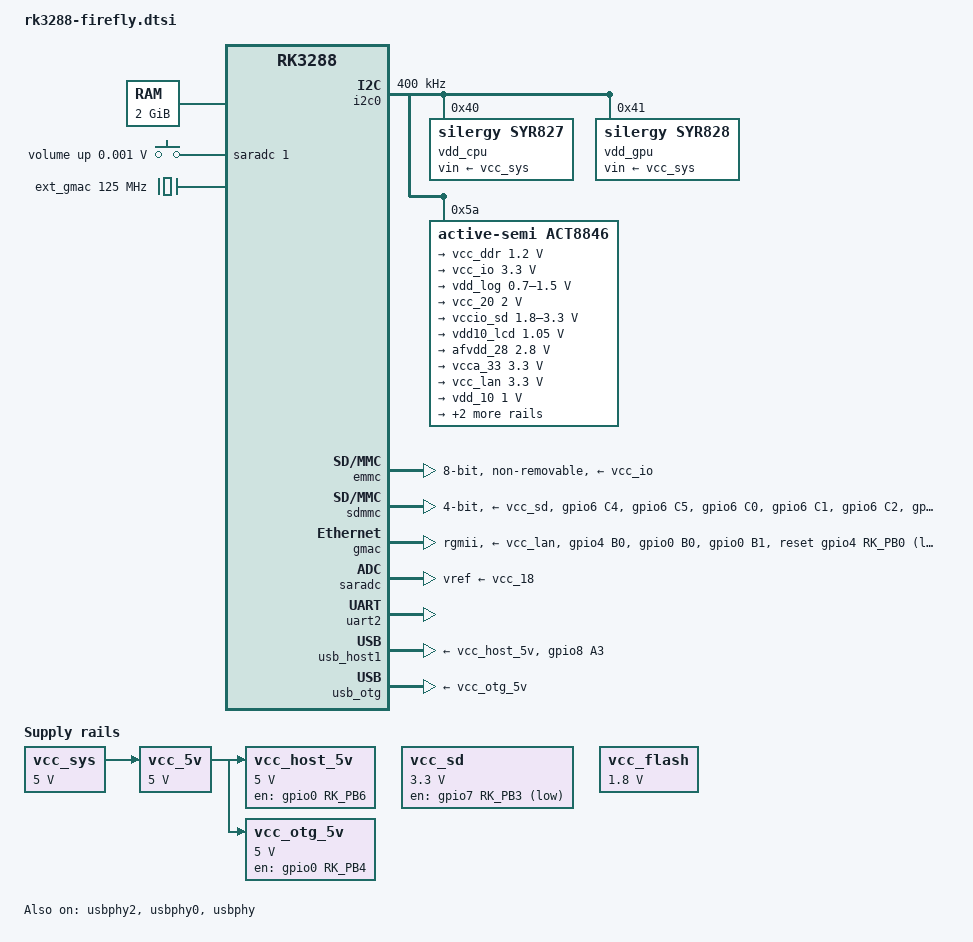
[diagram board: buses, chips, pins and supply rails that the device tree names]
/*
 * Copyright (c) 2014, 2015 FUKAUMI Naoki <naobsd@gmail.com>
 *
 * SPDX-License-Identifier:     GPL-2.0+ X11
 */

#include <dt-bindings/input/input.h>
#include "rk3288.dtsi"
#include "rk3288-u-boot.dtsi"

/ {
	memory {
		reg = <0 0x80000000>;
	};

	adc-keys {
		u-boot,dm-pre-reloc;
		compatible = "adc-keys";
		io-channels = <&saradc 1>;
		io-channel-names = "buttons";
		keyup-threshold-microvolt = <1800000>;

		volup-key {
			u-boot,dm-pre-reloc;
			label = "volume up";
			linux,code = <KEY_VOLUMEUP>;
			press-threshold-microvolt = <1000>;
		};
	};

	ext_gmac: external-gmac-clock {
		compatible = "fixed-clock";
		#clock-cells = <0>;
		clock-frequency = <125000000>;
		clock-output-names = "ext_gmac";
	};

	vcc_sys: vsys-regulator {
		compatible = "regulator-fixed";
		regulator-name = "vcc_sys";
		regulator-min-microvolt = <5000000>;
		regulator-max-microvolt = <5000000>;
		regulator-always-on;
		regulator-boot-on;
	};

	vcc_sd: sdmmc-regulator {
		compatible = "regulator-fixed";
		gpio = <&gpio7 RK_PB3 GPIO_ACTIVE_LOW>;
		pinctrl-names = "default";
		pinctrl-0 = <&sdmmc_pwr>;
		regulator-name = "vcc_sd";
		regulator-min-microvolt = <3300000>;
		regulator-max-microvolt = <3300000>;
		regulator-always-on;
		regulator-boot-on;
		startup-delay-us = <100000>;
		//vin-supply = <&vcc_io>;
	};

	vcc_flash: flash-regulator {
		compatible = "regulator-fixed";
		regulator-name = "vcc_flash";
		regulator-min-microvolt = <1800000>;
		regulator-max-microvolt = <1800000>;
		regulator-always-on;
		regulator-boot-on;
		//vin-supply = <&vcc_io>;
	};

	vcc_5v: usb-regulator {
		compatible = "regulator-fixed";
		regulator-name = "vcc_5v";
		regulator-min-microvolt = <5000000>;
		regulator-max-microvolt = <5000000>;
		regulator-always-on;
		regulator-boot-on;
		vin-supply = <&vcc_sys>;
	};

	vcc_host_5v: usb-host-regulator {
		compatible = "regulator-fixed";
		enable-active-high;
		gpio = <&gpio0 RK_PB6 GPIO_ACTIVE_HIGH>;
		pinctrl-names = "default";
		pinctrl-0 = <&host_vbus_drv>;
		regulator-name = "vcc_host_5v";
		regulator-min-microvolt = <5000000>;
		regulator-max-microvolt = <5000000>;
		regulator-always-on;
		regulator-boot-on;
		vin-supply = <&vcc_5v>;
	};

	vcc_otg_5v: usb-otg-regulator {
		compatible = "regulator-fixed";
		enable-active-high;
		gpio = <&gpio0 RK_PB4 GPIO_ACTIVE_HIGH>;
		pinctrl-names = "default";
		pinctrl-0 = <&otg_vbus_drv>;
		regulator-name = "vcc_otg_5v";
		regulator-min-microvolt = <5000000>;
		regulator-max-microvolt = <5000000>;
		vin-supply = <&vcc_5v>;
	};
};

&i2c0 {
	clock-frequency = <400000>;
	status = "okay";

	vdd_cpu: syr827@40 {
		compatible = "silergy,syr827";
		fcs,suspend-voltage-selector = <1>;
		reg = <0x40>;
		regulator-name = "vdd_cpu";
		regulator-min-microvolt = <850000>;
		regulator-max-microvolt = <1350000>;
		regulator-always-on;
		regulator-boot-on;
		regulator-enable-ramp-delay = <300>;
		regulator-ramp-delay = <8000>;
		vin-supply = <&vcc_sys>;
	};

	vdd_gpu: syr828@41 {
		compatible = "silergy,syr828";
		fcs,suspend-voltage-selector = <1>;
		reg = <0x41>;
		regulator-name = "vdd_gpu";
		regulator-min-microvolt = <850000>;
		regulator-max-microvolt = <1350000>;
		regulator-always-on;
		regulator-ramp-delay = <6000>;
		vin-supply = <&vcc_sys>;
	};

	act8846: act8846@5a {
		compatible = "active-semi,act8846";
		reg = <0x5a>;
		pinctrl-names = "default";
		pinctrl-0 = <&pmic_vsel>, <&pwr_hold>;
		system-power-controller;

		regulators {
			vcc_ddr: REG1 {
				regulator-name = "vcc_ddr";
				regulator-min-microvolt = <1200000>;
				regulator-max-microvolt = <1200000>;
				regulator-always-on;
			};

			vcc_io: REG2 {
				regulator-name = "vcc_io";
				regulator-min-microvolt = <3300000>;
				regulator-max-microvolt = <3300000>;
				regulator-always-on;
			};

			vdd_log: REG3 {
				regulator-name = "vdd_log";
				regulator-min-microvolt = <700000>;
				regulator-max-microvolt = <1500000>;
				regulator-always-on;
			};

			vcc_20: REG4 {
				regulator-name = "vcc_20";
				regulator-min-microvolt = <2000000>;
				regulator-max-microvolt = <2000000>;
				regulator-always-on;
			};

			vccio_sd: REG5 {
				regulator-name = "vccio_sd";
				regulator-min-microvolt = <1800000>;
				regulator-max-microvolt = <3300000>;
				regulator-always-on;
			};

			vdd10_lcd: REG6 {
				regulator-name = "vdd10_lcd";
				regulator-min-microvolt = <1050000>;
				regulator-max-microvolt = <1050000>;
				regulator-always-on;
				regulator-boot-on;
			};

			afvdd_28: REG7 {
				regulator-name = "afvdd_28";
				regulator-min-microvolt = <2800000>;
				regulator-max-microvolt = <2800000>;
				regulator-boot-on;
			};

			vcca_33: REG8 {
				regulator-name = "vcca_33";
				regulator-min-microvolt = <3300000>;
				regulator-max-microvolt = <3300000>;
				regulator-always-on;
			};

			vcc_lan: REG9 {
				regulator-name = "vcc_lan";
				regulator-min-microvolt = <3300000>;
				regulator-max-microvolt = <3300000>;
				regulator-always-on;
			};

			vdd_10: REG10 {
				regulator-name = "vdd_10";
				regulator-min-microvolt = <1000000>;
				regulator-max-microvolt = <1000000>;
				regulator-always-on;
			};

			vcc_18: REG11 {
				regulator-name = "vcc_18";
				regulator-min-microvolt = <1800000>;
				regulator-max-microvolt = <1800000>;
				regulator-always-on;
			};

			vcc18_lcd: REG12 {
				regulator-name = "vcc18_lcd";
				regulator-min-microvolt = <1850000>;
				regulator-max-microvolt = <1850000>;
				regulator-always-on;
				regulator-boot-on;
			};
		};
	};
};

&cpu0 {
	cpu0-supply = <&vdd_cpu>;
};

&emmc {
	bus-width = <8>;
	non-removable;
	pinctrl-names = "default";
	pinctrl-0 = <&emmc_clk>, <&emmc_cmd>, <&emmc_pwr>, <&emmc_bus8>;
	vmmc-supply = <&vcc_io>;
	status = "okay";
};

&sdmmc {
	bus-width = <4>;
	pinctrl-names = "default";
	pinctrl-0 = <&sdmmc_clk>, <&sdmmc_cmd>, <&sdmmc_cd>, <&sdmmc_bus4>;
	vmmc-supply = <&vcc_sd>;
	vqmmc-supply = <&vccio_sd>;
	status = "okay";
};

&gmac {
	assigned-clocks = <&cru SCLK_MAC>;
	assigned-clock-parents = <&ext_gmac>;
	clock_in_out = "input";
	pinctrl-names = "default";
	pinctrl-0 = <&rgmii_pins>, <&phy_rst>, <&phy_pmeb>, <&phy_int>;
	phy-supply = <&vcc_lan>;
	phy-mode = "rgmii";
	snps,reset-active-low;
	snps,reset-delays-us = <0 10000 1000000>;
	snps,reset-gpio = <&gpio4 RK_PB0 GPIO_ACTIVE_LOW>;
	tx_delay = <0x1d>;
	rx_delay = <0x16>;
	status = "okay";
};

&pinctrl {
	pcfg_output_high: pcfg-output-high {
		output-high;
	};

	pcfg_output_low: pcfg-output-low {
		output-low;
	};

	pcfg_pull_up_drv_12ma: pcfg-pull-up-drv-12ma {
		bias-pull-up;
		drive-strength = <12>;
	};

	sdmmc {
		/*
		 * Default drive strength isn't enough to achieve even
		 * high-speed mode on firefly board so bump up to 12ma.
		 */
		sdmmc_bus4: sdmmc-bus4 {
			rockchip,pins = <6 RK_PC0 1 &pcfg_pull_up_drv_12ma>,
					<6 RK_PC1 1 &pcfg_pull_up_drv_12ma>,
					<6 RK_PC2 1 &pcfg_pull_up_drv_12ma>,
					<6 RK_PC3 1 &pcfg_pull_up_drv_12ma>;
		};

		sdmmc_clk: sdmmc-clk {
			rockchip,pins = <6 RK_PC4 1 &pcfg_pull_none_12ma>;
		};

		sdmmc_cmd: sdmmc-cmd {
			rockchip,pins = <6 RK_PC5 1 &pcfg_pull_up_drv_12ma>;
		};

		sdmmc_pwr: sdmmc-pwr {
			rockchip,pins = <7 RK_PB3 RK_FUNC_GPIO &pcfg_pull_none>;
		};
	};

	usb_host {
		host_vbus_drv: host-vbus-drv {
			rockchip,pins = <0 RK_PB6 RK_FUNC_GPIO &pcfg_pull_none>;
		};

		usbhub_rst: usbhub-rst {
			rockchip,pins = <8 RK_PA3 RK_FUNC_GPIO &pcfg_output_high>;
		};
	};

	usb_otg {
		otg_vbus_drv: otg-vbus-drv {
			rockchip,pins = <0 RK_PB4 RK_FUNC_GPIO &pcfg_pull_none>;
		};
	};

	act8846 {
		pmic_vsel: pmic-vsel {
			rockchip,pins = <7 RK_PB6 RK_FUNC_GPIO &pcfg_output_low>;
		};

		pwr_hold: pwr-hold {
			rockchip,pins = <0 RK_PA1 RK_FUNC_GPIO &pcfg_output_high>;
		};
	};

	gmac {
		phy_int: phy-int {
			rockchip,pins = <0 RK_PB1 RK_FUNC_GPIO &pcfg_pull_up>;
		};

		phy_pmeb: phy-pmeb {
			rockchip,pins = <0 RK_PB0 RK_FUNC_GPIO &pcfg_pull_up>;
		};

		phy_rst: phy-rst {
			rockchip,pins = <4 RK_PB0 RK_FUNC_GPIO &pcfg_output_high>;
		};
	};
};

&saradc {
	vref-supply = <&vcc_18>;
	status = "okay";
};

&uart2 {
	status = "okay";
};

&usbphy2 {
	status = "okay";
};

&usbphy0 {
	status = "okay";
};

&usbphy {
	status = "okay";
};

&usb_host1 {
	vbus-supply = <&vcc_host_5v>;
	pinctrl-names = "default";
	pinctrl-0 = <&usbhub_rst>;
	status = "okay";
};

&usb_otg {
	vbus-supply = <&vcc_otg_5v>;
	status = "okay";
};
